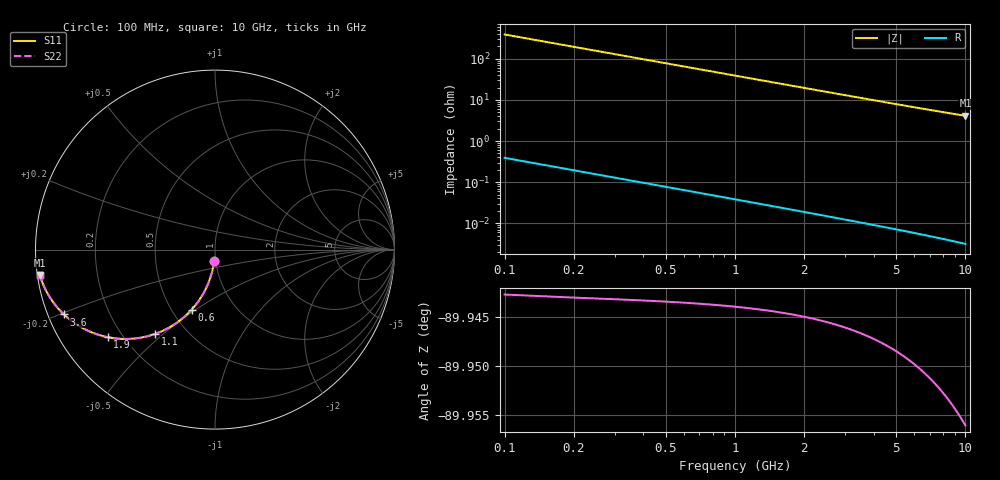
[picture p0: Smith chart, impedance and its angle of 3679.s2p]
# Hz S RI R 50.00
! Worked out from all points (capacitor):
!   100 points, 100 MHz to 10 GHz, reference 50 ohm
!   read as one part in shunt: C = 4.08 pF near 100 MHz
!   lowest |Z| = 4.1 ohm at 10 GHz (marker M1)
!   S11 on the Smith chart (normalised r, x): 100 MHz: 0.98, -0.13; 600 MHz: 0.63, -0.48; 1.1 GHz: 0.34, -0.47; 1.9 GHz: 0.15, -0.35; 3.6 GHz: 0.05, -0.20; 10 GHz: 0.01, -0.07
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1e8  -0.00412 -0.0638  0.9958 -0.064  0.9958 -0.064  -0.00412 -0.0638
2e8  -0.0163 -0.126  0.9837 -0.1264  0.9837 -0.1264  -0.0163 -0.126
3e8  -0.0358 -0.1852  0.9641 -0.1858  0.9641 -0.1858  -0.0358 -0.1852
4e8  -0.0619 -0.2402  0.938 -0.241  0.938 -0.241  -0.0619 -0.2402
5e8  -0.0935 -0.2901  0.9065 -0.2911  0.9065 -0.2911  -0.0935 -0.2901
6e8  -0.1292 -0.3344  0.8707 -0.3355  0.8707 -0.3355  -0.1292 -0.3344
8e8  -0.2086 -0.4051  0.7913 -0.4066  0.7913 -0.4066  -0.2086 -0.4051
9e8  -0.2501 -0.4317  0.7499 -0.4334  0.7499 -0.4334  -0.2501 -0.4317
1.1e9  -0.3324 -0.4696  0.6675 -0.4716  0.6675 -0.4716  -0.3324 -0.4696
1.4e9  -0.4463 -0.4953  0.5536 -0.4979  0.5536 -0.4979  -0.4463 -0.4953
1.8e9  -0.5711 -0.4927  0.4288 -0.4961  0.4288 -0.4961  -0.5711 -0.4927
1.9e9  -0.5973 -0.4881  0.4026 -0.4917  0.4026 -0.4917  -0.5973 -0.4881
2.2e9  -0.6654 -0.4693  0.3346 -0.4734  0.3346 -0.4734  -0.6654 -0.4693
2.6e9  -0.7352 -0.4383  0.2647 -0.4432  0.2647 -0.4432  -0.7352 -0.4383
3e9  -0.787 -0.406  0.2129 -0.4117  0.2129 -0.4117  -0.787 -0.406
3.4e9  -0.826 -0.3754  0.1739 -0.3818  0.1739 -0.3818  -0.826 -0.3754
3.6e9  -0.8418 -0.361  0.1581 -0.3678  0.1581 -0.3678  -0.8418 -0.361
4.3e9  -0.8836 -0.316  0.1163 -0.3242  0.1163 -0.3242  -0.8836 -0.316
5.1e9  -0.9144 -0.2743  0.0855 -0.284  0.0855 -0.284  -0.9144 -0.2743
6.7e9  -0.9487 -0.2135  0.0512 -0.2264  0.0512 -0.2264  -0.9487 -0.2135
8.4e9  -0.9669 -0.17  0.0329 -0.1863  0.0329 -0.1863  -0.9669 -0.17
1e10  -0.9765 -0.1407  0.0232 -0.1602  0.0232 -0.1602  -0.9765 -0.1407
